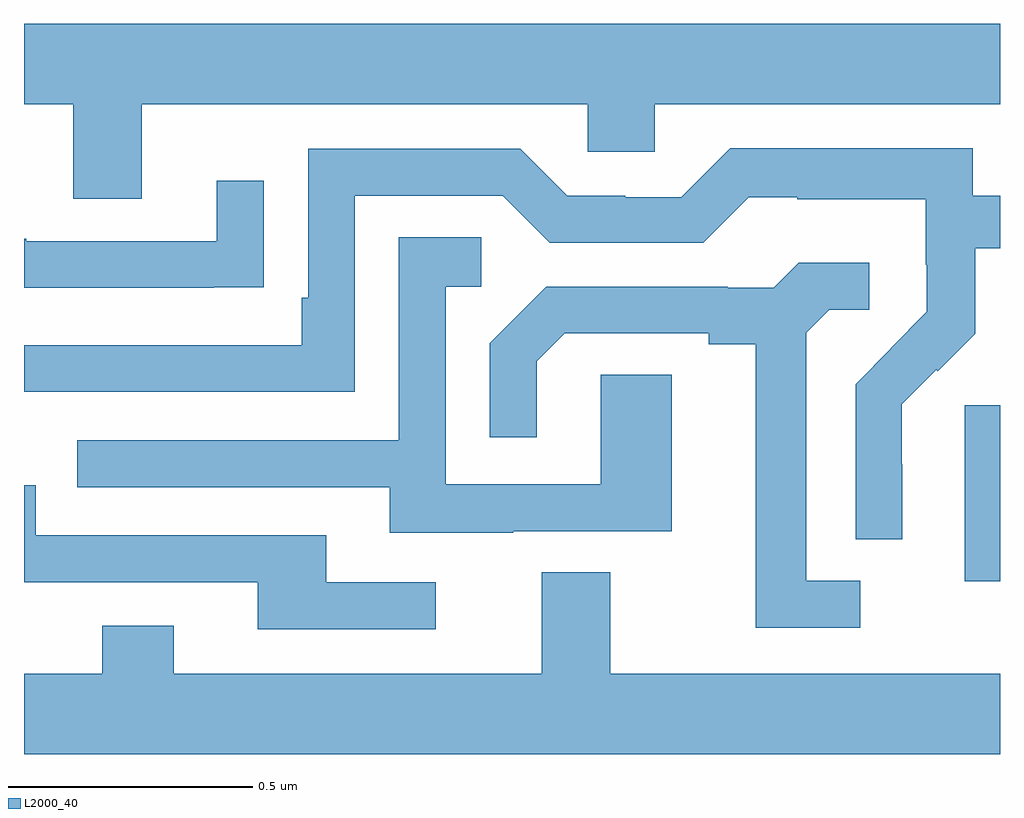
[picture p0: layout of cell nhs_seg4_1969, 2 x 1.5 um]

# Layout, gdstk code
import gdstk
lib = gdstk.Library(unit=1e-6, precision=1e-09)
def R(c, l, rs):  # rectangles x0, y0, x1, y1
    for r in rs: c.add(gdstk.rectangle(r[:2], r[2:], *l))
def P(c, l, *ps):  # polygons
    for p in ps: c.add(gdstk.Polygon(p, *l))
L2000_40 = (2000, 40)

nhs_seg4_1969 = lib.new_cell('nhs_seg4_1969')
R(nhs_seg4_1969, L2000_40, [(136.928,758.546,137,758.907)])
P(nhs_seg4_1969, L2000_40, [(135.241,759.524),(136.155,759.524),(136.155,759.426),(136.293,759.426),(136.293,759.524),(137,759.524),(137,759.688),(135,759.688),(135,759.524),(135.101,759.524),(135.101,759.33),(135.241,759.33)],
  [(136.8,758.786),(136.799,758.786),(136.799,758.909),(136.869,758.979),(136.872,758.976),(136.949,759.053),(136.949,759.228),(137,759.228),(137,759.336),(136.944,759.336),(136.944,759.433),(136.447,759.433),(136.347,759.333),(136.232,759.333),(136.232,759.336),(136.113,759.336),(136.017,759.432),(135.582,759.432),(135.582,759.127),(135.569,759.127),(135.569,759.03),(135,759.03),(135,758.934),(135.678,758.934),(135.678,759.336),(135.981,759.336),(136.077,759.24),(136.392,759.24),(136.485,759.333),(136.585,759.333),(136.585,759.329),(136.848,759.329),(136.848,759.195),(136.85,759.195),(136.85,759.098),(136.776,759.024),(136.777,759.023),(136.704,758.95),(136.704,758.632),(136.8,758.632)],
  [(135.389,759.148),(135.491,759.148),(135.491,759.367),(135.395,759.367),(135.395,759.243),(135.005,759.243),(135.005,759.248),(135,759.248),(135,759.147),(135.389,759.147)],
  [(136.003,758.649),(136.327,758.649),(136.327,758.969),(136.182,758.969),(136.182,758.745),(135.864,758.745),(135.864,759.15),(135.937,759.15),(135.937,759.251),(135.768,759.251),(135.768,758.835),(135.109,758.835),(135.109,758.739),(135.749,758.739),(135.749,758.645),(136.003,758.645)],
  [(136.714,758.547),(136.603,758.547),(136.603,759.055),(136.65,759.102),(136.732,759.102),(136.732,759.199),(136.588,759.199),(136.536,759.147),(136.442,759.147),(136.442,759.15),(136.07,759.15),(135.954,759.034),(135.954,758.841),(136.051,758.841),(136.051,758.997),(136.108,759.054),(136.403,759.054),(136.403,759.032),(136.499,759.032),(136.499,758.451),(136.714,758.451)],
  [(135.844,758.544),(135.619,758.544),(135.619,758.64),(135.024,758.64),(135.024,758.743),(135,758.743),(135,758.544),(135.479,758.544),(135.479,758.448),(135.844,758.448)],
  [(137,758.356),(136.201,758.356),(136.201,758.564),(136.061,758.564),(136.061,758.356),(135.307,758.356),(135.307,758.455),(135.16,758.455),(135.16,758.356),(135,758.356),(135,758.192),(137,758.192)])

lib.write_gds('nhs_seg4_1969.gds')
